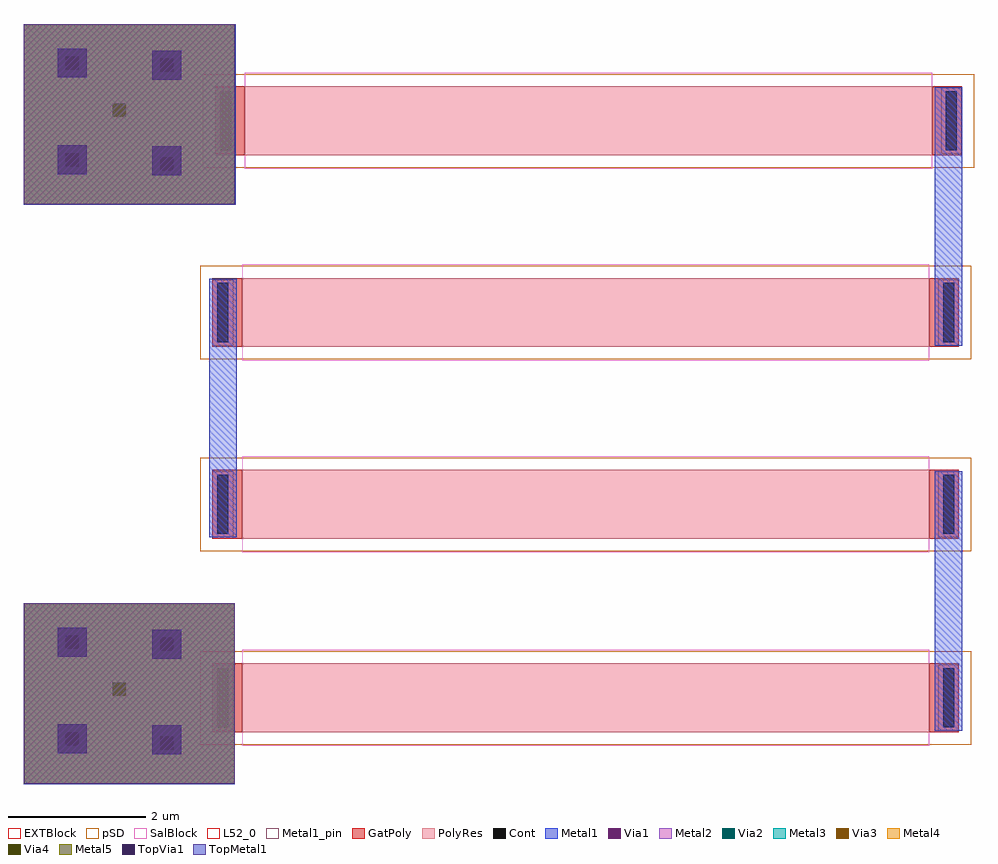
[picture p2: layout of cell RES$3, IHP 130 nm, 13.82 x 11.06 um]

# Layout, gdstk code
from math import pi, radians
import gdstk
lib = gdstk.Library(unit=1e-6, precision=1e-09)
def R(c, l, rs):  # rectangles x0, y0, x1, y1
    for r in rs: c.add(gdstk.rectangle(r[:2], r[2:], *l))
GatPoly = (5, 0)
Cont = (6, 0)
Metal1 = (8, 0)
Metal1_pin = (8, 2)
Metal2 = (10, 0)
pSD = (14, 0)
Via1 = (19, 0)
SalBlock = (28, 0)
Via2 = (29, 0)
Metal3 = (30, 0)
Via3 = (49, 0)
Metal4 = (50, 0)
L52_0 = (52, 0)
Via4 = (66, 0)
Metal5 = (67, 0)
EXTBlock = (111, 0)
TopVia1 = (125, 0)
TopMetal1 = (126, 0)
PolyRes = (128, 0)

rppd = lib.new_cell('rppd')
R(rppd, GatPoly, [(0,-0.43,1,-0.2), (0,-0.2,1,0), (0,10,1,10.2), (0,10.2,1,10.43)])
R(rppd, Cont, [(0.07,-0.36,0.93,-0.2), (0.07,10.2,0.93,10.36)])
R(rppd, Metal1, [(0.02,-0.43,0.98,-0.13), (0.02,10.13,0.98,10.43)])
R(rppd, Metal1_pin, [(0.02,-0.43,0.98,-0.13), (0.02,10.13,0.98,10.43)])
R(rppd, pSD, [(-0.18,-0.61,1.18,0), (-0.18,0,1.18,10), (-0.18,10,1.18,10.61)])
R(rppd, SalBlock, [(-0.2,0,1.2,10)])
R(rppd, L52_0, [(0,0,1,10)])
R(rppd, EXTBlock, [(-0.18,-0.61,1.18,0), (-0.2,0,1.2,10), (-0.18,10,1.18,10.61)])
R(rppd, PolyRes, [(0,0,1,10)])
rppd.add(gdstk.Label('rppd r=2654.493', (0.5,5), layer=63, texttype=0))
rppd.add(gdstk.Label('rppd', (0.5,5), layer=52, texttype=0))

res_3 = lib.new_cell('RES$3')
R(res_3, Metal1, [(3.663,4.791,6.733,7.421), (16.915,5.565,17.315,9.34), (6.355,8.38,6.755,12.14), (16.915,11.17,17.315,14.928), (3.663,13.22,6.745,15.848)])
R(res_3, Metal2, [(3.665,4.795,6.73,7.42), (3.663,13.223,6.728,15.848)])
R(res_3, Via1, [(5.647,5.292,5.837,5.482), (4.272,5.352,4.462,5.542), (4.957,6.074,5.147,6.264), (5.647,6.727,5.837,6.917), (4.272,6.757,4.462,6.947), (5.645,13.72,5.835,13.91), (4.27,13.78,4.46,13.97), (4.955,14.502,5.145,14.692), (5.645,15.155,5.835,15.345), (4.27,15.185,4.46,15.375)])
R(res_3, Via2, [(5.647,5.292,5.837,5.482), (4.272,5.352,4.462,5.542), (4.957,6.072,5.147,6.262), (5.647,6.727,5.837,6.917), (4.272,6.757,4.462,6.947), (5.645,13.72,5.835,13.91), (4.27,13.78,4.46,13.97), (4.955,14.5,5.145,14.69), (5.645,15.155,5.835,15.345), (4.27,15.185,4.46,15.375)])
R(res_3, Metal3, [(3.665,4.795,6.73,7.42), (3.663,13.223,6.728,15.848)])
R(res_3, Via3, [(5.647,5.292,5.837,5.482), (4.272,5.352,4.462,5.542), (4.957,6.072,5.147,6.262), (5.647,6.727,5.837,6.917), (4.272,6.757,4.462,6.947), (5.645,13.72,5.835,13.91), (4.27,13.78,4.46,13.97), (4.955,14.5,5.145,14.69), (5.645,15.155,5.835,15.345), (4.27,15.185,4.46,15.375)])
R(res_3, Metal4, [(3.665,4.795,6.73,7.42), (3.663,13.223,6.728,15.848)])
R(res_3, Via4, [(5.647,5.292,5.837,5.482), (4.272,5.352,4.462,5.542), (4.957,6.072,5.147,6.262), (5.647,6.727,5.837,6.917), (4.272,6.757,4.462,6.947), (5.645,13.72,5.835,13.91), (4.27,13.78,4.46,13.97), (4.955,14.5,5.145,14.69), (5.645,15.155,5.835,15.345), (4.27,15.185,4.46,15.375)])
R(res_3, Metal5, [(3.665,4.795,6.73,7.42), (3.663,13.223,6.728,15.848)])
R(res_3, TopVia1, [(5.53,5.225,5.95,5.645), (4.155,5.24,4.575,5.66), (5.53,6.615,5.95,7.035), (4.155,6.645,4.575,7.065), (5.53,13.65,5.95,14.07), (4.155,13.665,4.575,14.085), (5.53,15.04,5.95,15.46), (4.155,15.07,4.575,15.49)])
R(res_3, TopMetal1, [(3.663,4.798,6.728,7.423), (3.663,13.223,6.728,15.848)])
res_3.add(gdstk.Reference(rppd, (6.875,14.94), rotation=3*pi/2))
res_3.add(gdstk.Reference(rppd, (6.835,12.15), rotation=3*pi/2))
res_3.add(gdstk.Reference(rppd, (6.835,9.36), rotation=3*pi/2))
res_3.add(gdstk.Reference(rppd, (6.835,6.545), rotation=3*pi/2))

lib.write_gds('RES_3.gds')
